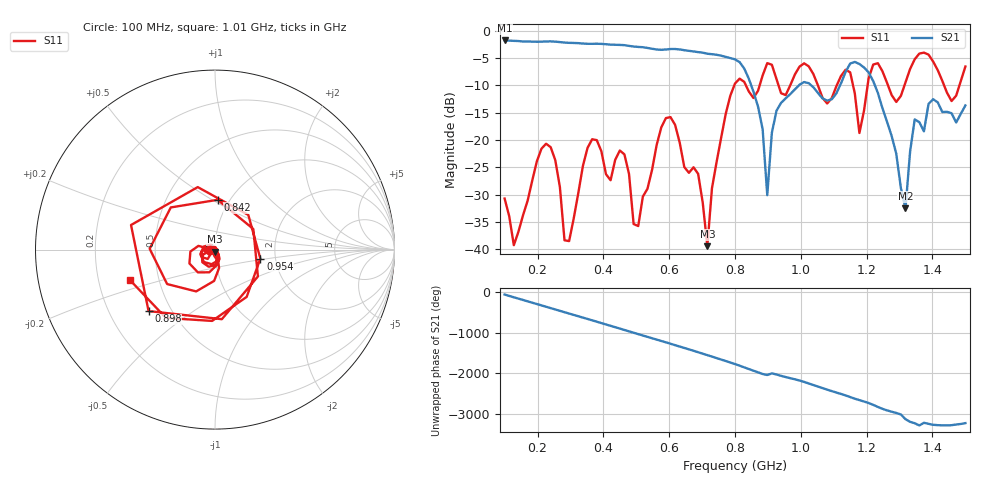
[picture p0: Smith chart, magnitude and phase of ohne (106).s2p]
! NanoVNA-App
! Date: 2025-09-25 17:39:07
! Start: 100MHz Stop: 1,5GHz Points: 101
! S-Parameter data: F S11 S21 S12 S22
# Hz S RI R 50
!  Frequency  S11_Real  S11_Imag  S21_Real  S21_Imag  S12_Real  S12_Imag  S22_Real  S22_Imag
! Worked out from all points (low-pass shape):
!   101 points, 100 MHz to 1.5 GHz, reference 50 ohm
!   highest |S21| = -1.80 dB at 100 MHz (marker M1); lowest = -32.5 dB at 1.318 GHz (marker M2)
!   |S21| within 3 dB of the highest: start of sweep to 771.5 MHz
!   lowest |S11| = -39.4 dB at 716 MHz (marker M3), VSWR 1.02, Z = 49.8 - j1.06 ohm
!   |S11| at or under -10 dB: start of sweep to 797.9 MHz; 833.1 MHz to 875 MHz (41.88 MHz wide, 4.9 % of centre); 1.052 GHz to 1.109 GHz (57.33 MHz wide, 5.31 % of centre)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
!   S12 and S22 are empty: the file has one direction only
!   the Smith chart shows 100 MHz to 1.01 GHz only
!   S11 on the Smith chart (normalised r, x): 100 MHz: 0.94, -0.01; 842 MHz: 0.88, +0.53; 898 MHz: 0.37, -0.34; 954 MHz: 1.66, -0.18; 1.01 GHz: 0.34, -0.16
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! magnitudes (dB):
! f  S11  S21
! 100 MHz  -30.7  -1.8
! 128 MHz  -39.2  -1.9
! 226 MHz  -20.7  -2.0
! 296 MHz  -38.5  -2.2
! 338 MHz  -24.7  -2.4
! 464 MHz  -22.6  -2.7
! 506 MHz  -35.7  -3.0
! 576 MHz  -17.7  -3.5
! 716 MHz  -39.4  -4.2
! 800 MHz  -9.7  -5.3
! 842 MHz  -11.1  -8.8
! 898 MHz  -5.9  -30.1
! 954 MHz  -11.8  -12.4
! 1.01 GHz  -6.0  -9.4
! 1.038 GHz  -7.9  -10.3
! 1.15 GHz  -7.6  -6.0
! 1.178 GHz  -18.7  -6.1
! 1.22 GHz  -6.2  -9.2
! 1.276 GHz  -11.8  -19.3
! 1.318 GHz  -9.5  -32.5
! 1.346 GHz  -5.2  -16.2
! 1.5 GHz  -6.6  -13.7
